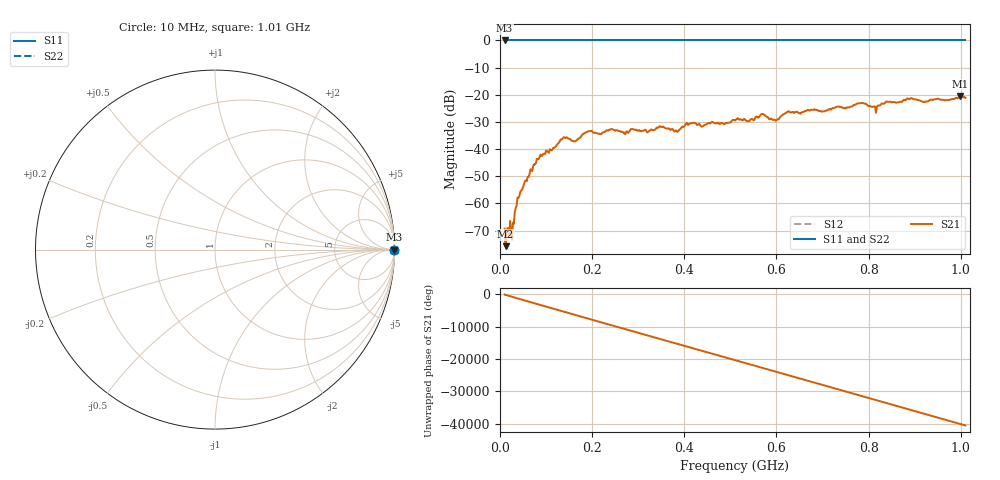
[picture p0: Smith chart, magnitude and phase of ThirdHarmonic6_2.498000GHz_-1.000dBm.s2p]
! 8/17/2025 4:46:28 AM
! C:\ANRITSUVNA\TEMP\TEMP.S2P
! CHANNEL.1
! TR.MEASUREMENT
! RAW.DATA
! RF.CORRECTION.OFF
! AVERAGING.OFF
! IF.BANDWIDTH: 5KHZ
! SWEEPTYPE:  FREQ.SWEEP(Linear)
! Reference Plane Port Info
! PORT:  PORT1  PORT2
! DISTANCE:  0  m  0  m
! TIME:  0  s  0  s
! PHASE.OFFSET:  0  deg.  0  deg.
! LOSS:  0  dB  0  dB
! REF.LOSS:  0  dB  0  dB
! REF.FREQ:  0  Hz  0  Hz
! Power Info
! POWER:  -20  dBm  -20  dBm
! EFF.POWER:  -20  dBm  -20  dBm
! SOURCE.ATTEN:  0  dB  0  dB
! TEST.ATTEN:  0  dB  0  dB
# GHZ S RI R 50.0
! FREQ.GHZ  S11RE  S11IM  S21RE  S21IM  S12RE  S12IM  S22RE  S22IM
!; PortSelection: Port_12
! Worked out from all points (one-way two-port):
!   501 points, 10 MHz to 1.01 GHz, reference 50 ohm
!   highest |S21| = -20.46 dB at 998 MHz (marker M1); lowest = -75.7 dB at 12 MHz (marker M2)
!   lowest |S11| = 0.0 dB at 10 MHz (marker M3)
!   |S11| at or under -10 dB: nowhere
!   |S22| runs from 0.0 to 0.0 dB; largest |S21 - S12| = 1.1
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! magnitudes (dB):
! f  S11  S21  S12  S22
! 10 MHz  0.0  -69.3  0.0  0.0
! 12 MHz  0.0  -75.7  0.0  0.0
! 24 MHz  0.0  -71.1  0.0  0.0
! 42 MHz  0.0  -57.3  0.0  0.0
! 84 MHz  0.0  -43.6  0.0  0.0
! 136 MHz  0.0  -36.1  0.0  0.0
! 162 MHz  0.0  -37.2  0.0  0.0
! 178 MHz  0.0  -34.8  0.0  0.0
! 344 MHz  0.0  -32.1  0.0  0.0
! 382 MHz  0.0  -33.1  0.0  0.0
! 408 MHz  0.0  -31.1  0.0  0.0
! 510 MHz  0.0  -29.4  0.0  0.0
! 538 MHz  0.0  -29.8  0.0  0.0
! 570 MHz  0.0  -27.0  0.0  0.0
! 596 MHz  0.0  -29.2  0.0  0.0
! 624 MHz  0.0  -26.3  0.0  0.0
! 678 MHz  0.0  -25.6  0.0  0.0
! 784 MHz  0.0  -23.0  0.0  0.0
! 814 MHz  0.0  -24.4  0.0  0.0
! 844 MHz  0.0  -22.6  0.0  0.0
! 998 MHz  0.0  -20.5  0.0  0.0
! 1.01 GHz  0.0  -21.1  0.0  0.0
